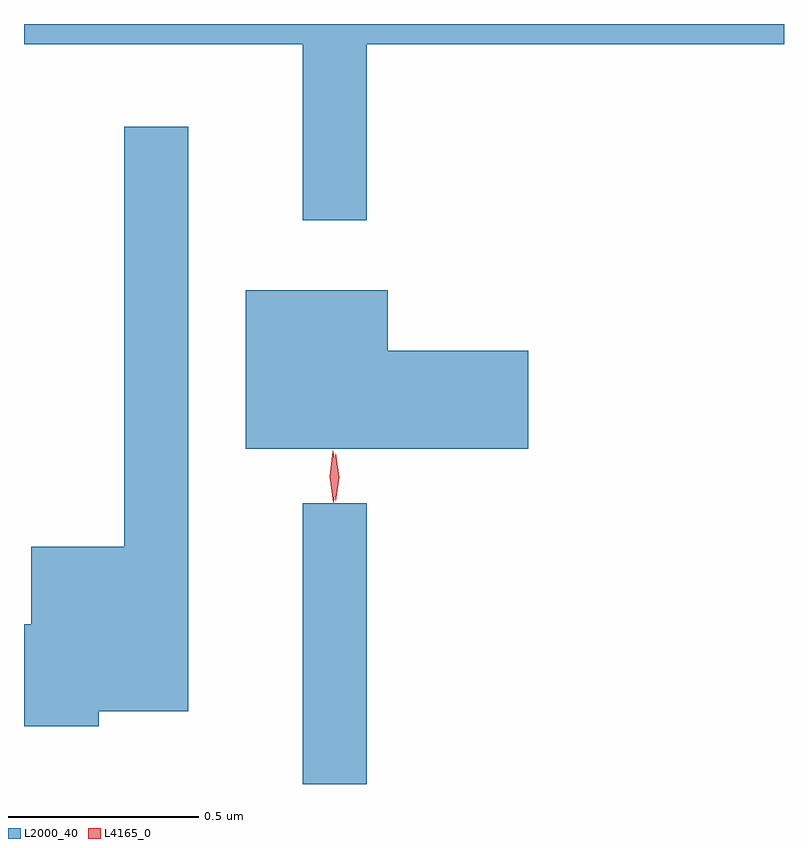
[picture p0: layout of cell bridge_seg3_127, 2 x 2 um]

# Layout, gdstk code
import gdstk
lib = gdstk.Library(unit=1e-6, precision=1e-09)
def R(c, l, rs):  # rectangles x0, y0, x1, y1
    for r in rs: c.add(gdstk.rectangle(r[:2], r[2:], *l))
def P(c, l, *ps):  # polygons
    for p in ps: c.add(gdstk.Polygon(p, *l))
L2000_40 = (2000, 40)
L4165_0 = (4165, 0)

bridge_seg3_127 = lib.new_cell('bridge_seg3_127')
R(bridge_seg3_127, L2000_40, [(1077.371,1195.109,1077.539,1195.848)])
P(bridge_seg3_127, L2000_40, [(1077.539,1197.056),(1078.637,1197.056),(1078.637,1197.109),(1076.637,1197.109),(1076.637,1197.056),(1077.371,1197.056),(1077.371,1196.593),(1077.539,1196.593)],
  [(1076.834,1195.301),(1077.069,1195.301),(1077.069,1196.838),(1076.901,1196.838),(1076.901,1195.734),(1076.656,1195.734),(1076.656,1195.529),(1076.637,1195.529),(1076.637,1195.261),(1076.834,1195.261)],
  [(1077.964,1196.249),(1077.594,1196.249),(1077.594,1196.409),(1077.221,1196.409),(1077.221,1195.991),(1077.964,1195.991)])
P(bridge_seg3_127, L4165_0, [(1077.451,1195.85),(1077.441,1195.918),(1077.45,1195.985),(1077.45,1195.986),(1077.451,1195.985),(1077.461,1195.918),(1077.452,1195.85),(1077.452,1195.85)],
  [(1077.457,1195.853),(1077.457,1195.853),(1077.447,1195.916),(1077.457,1195.979),(1077.457,1195.98),(1077.458,1195.979),(1077.467,1195.916),(1077.458,1195.853)])

lib.write_gds('bridge_seg3_127.gds')
